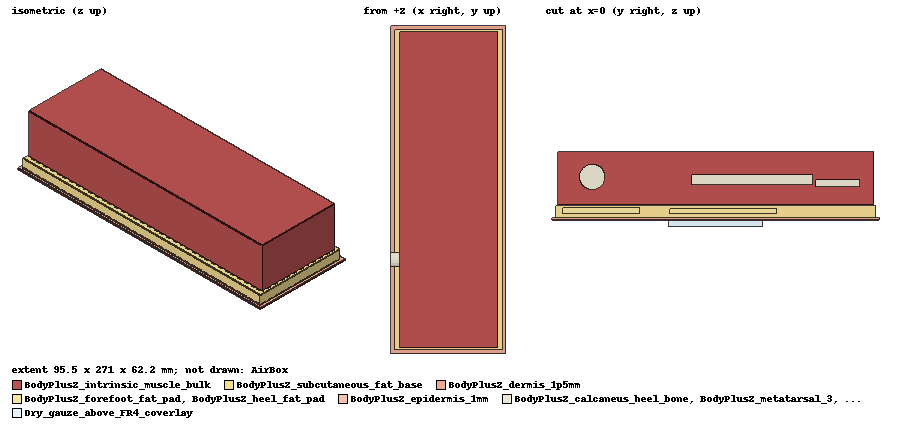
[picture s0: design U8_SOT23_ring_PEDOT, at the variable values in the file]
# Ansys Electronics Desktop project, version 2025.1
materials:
  vacuum: permittivity=1
  FR4_915MHz: permittivity=3.4 permeability=1 conductivity=0.00069229086
  PEDOTPSS: permittivity=4.5 permeability=1 conductivity=750
  copper: permeability=0.999991 conductivity=58000000
  Foot_Epidermis_915MHz: permittivity=38 permeability=1 conductivity=0.65
  Foot_Dermis_915MHz: permittivity=46.02 permeability=1 conductivity=0.851
  Foot_Skin_Wet_915MHz: permittivity=46.02 permeability=1 conductivity=0.851
  Foot_Fat_915MHz: permittivity=5.46 permeability=1 conductivity=0.051
  Foot_Muscle_915MHz: permittivity=55 permeability=1 conductivity=0.948
  Foot_Bone_Approx_915MHz: permittivity=12.5 permeability=1 conductivity=0.14
  Dry_Gauze_915MHz: permittivity=1.5 permeability=1 conductivity=0.001
  air: permittivity=1.0006 permeability=1.0000004
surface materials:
  Steel-oxidised-surface

design U8_SOT23_ring_PEDOT (HFSS, HFSS Modal Network, model units mm)
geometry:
  Cu_user_sketch_single_ring_vertical_dipole [copper] = cylinder(axis=Z, base_centre=(0mm, 0mm, -0.035mm), radius=10.37mm, height=0.035mm, segments=128)
  Cu_ring_inner_cut = cylinder(axis=Z, base_centre=(0mm, 0mm, -0.036mm), radius=7.57mm, height=0.037mm, segments=128)
  Cu_left_chip_gap_cut = box(corner=(-10.52mm, -0.7mm, -0.036mm), size=(3.1mm, 1.4mm, 0.037mm))
  Cu_user_sketch_single_ring_vertical_dipole.subtract(Cu_ring_inner_cut, Cu_left_chip_gap_cut)
  Cu_top_arm = polyline((0mm, 8.97mm, -0.0175mm) (0mm, 23.97mm, -0.0175mm), section rectangle width=1.6mm height=0.035mm)
  Cu_bottom_arm = polyline((0mm, -8.97mm, -0.0175mm) (0mm, -23.97mm, -0.0175mm), section rectangle width=1.6mm height=0.035mm)
  Cu_top_round_end = cylinder(axis=Z, base_centre=(0mm, 23.97mm, -0.035mm), radius=5mm, height=0.035mm, segments=128)
  Cu_bottom_round_end = cylinder(axis=Z, base_centre=(0mm, -23.97mm, -0.035mm), radius=5mm, height=0.035mm, segments=128)
  Cu_user_sketch_single_ring_vertical_dipole.unite(Cu_top_arm, Cu_bottom_arm, Cu_top_round_end, Cu_bottom_round_end)
  FR4_substrate_below_single_layer [FR4_915MHz] = box(corner=(-12.5mm, -32.5mm, -0.085mm), size=(25mm, 65mm, 0.05mm))
  PEDOT_PSS_center_volume [PEDOTPSS] = cylinder(axis=Z, base_centre=(0mm, 0mm, 0mm), radius=6.45mm, height=0.1mm, segments=96)
  ChipPortSheet = polyline(z=-0.0175mm, xy in mm: (-9.47, -0.7) (-8.47, -0.7) (-8.47, 0.7) (-9.47, 0.7) (-9.47, -0.7), closed, covered)
  FR4_coverlay_with_circular_PEDOT_window [FR4_915MHz] = box(corner=(-12.5mm, -32.5mm, 0mm), size=(25mm, 65mm, 0.05mm))
  FR4_PEDOT_window_cylinder_cut = cylinder(axis=Z, base_centre=(0mm, 0mm, -0.001mm), radius=6.55mm, height=0.052mm, segments=96)
  FR4_coverlay_with_circular_PEDOT_window.subtract(FR4_PEDOT_window_cylinder_cut)
  Dry_gauze_above_FR4_coverlay [Dry_Gauze_915MHz] = box(corner=(-18.5mm, -38.5mm, 0.12mm), size=(37mm, 77mm, 5mm))
  BodyPlusZ_epidermis_1mm [Foot_Epidermis_915MHz] = box(corner=(-46.5mm, -134.5mm, 5.12mm), size=(93mm, 269mm, 1mm))
  BodyPlusZ_dermis_1p5mm [Foot_Dermis_915MHz] = box(corner=(-47.5mm, -135.5mm, 6.12mm), size=(95mm, 271mm, 1.5mm))
  BodyPlusZ_subcutaneous_fat_base [Foot_Fat_915MHz] = box(corner=(-44.5mm, -132.5mm, 7.62mm), size=(89mm, 265mm, 9.5mm))
  BodyPlusZ_forefoot_fat_pad [Foot_Fat_915MHz] = box(corner=(-42mm, -38mm, 11.12mm), size=(84mm, 88mm, 4mm))
  BodyPlusZ_heel_fat_pad [Foot_Fat_915MHz] = box(corner=(-37.8mm, -126.5mm, 11.12mm), size=(75.6mm, 64mm, 4.5mm))
  BodyPlusZ_intrinsic_muscle_bulk [Foot_Muscle_915MHz] = box(corner=(-40.5mm, -130.5mm, 18.12mm), size=(81mm, 261mm, 44mm))
  BodyPlusZ_metatarsal_1 [Foot_Bone_Approx_915MHz] = cylinder(axis=Y, base_centre=(-28mm, -20mm, 39.12mm), radius=3.4mm, height=100mm, segments=24)
  BodyPlusZ_metatarsal_2 [Foot_Bone_Approx_915MHz] = cylinder(axis=Y, base_centre=(-14mm, -20mm, 39.12mm), radius=3.8mm, height=100mm, segments=24)
  BodyPlusZ_metatarsal_3 [Foot_Bone_Approx_915MHz] = cylinder(axis=Y, base_centre=(0mm, -20mm, 39.12mm), radius=4mm, height=100mm, segments=24)
  BodyPlusZ_metatarsal_4 [Foot_Bone_Approx_915MHz] = cylinder(axis=Y, base_centre=(14mm, -20mm, 39.12mm), radius=3.8mm, height=100mm, segments=24)
  BodyPlusZ_metatarsal_5 [Foot_Bone_Approx_915MHz] = cylinder(axis=Y, base_centre=(28mm, -20mm, 39.12mm), radius=3.2mm, height=100mm, segments=24)
  BodyPlusZ_proximal_phalanx_1 [Foot_Bone_Approx_915MHz] = cylinder(axis=Y, base_centre=(-30mm, 83mm, 36.12mm), radius=2.4mm, height=36mm, segments=20)
  BodyPlusZ_proximal_phalanx_2 [Foot_Bone_Approx_915MHz] = cylinder(axis=Y, base_centre=(-15mm, 83mm, 36.12mm), radius=2.5mm, height=36mm, segments=20)
  BodyPlusZ_proximal_phalanx_3 [Foot_Bone_Approx_915MHz] = cylinder(axis=Y, base_centre=(0mm, 83mm, 36.12mm), radius=2.7mm, height=36mm, segments=20)
  BodyPlusZ_proximal_phalanx_4 [Foot_Bone_Approx_915MHz] = cylinder(axis=Y, base_centre=(15mm, 83mm, 36.12mm), radius=2.5mm, height=36mm, segments=20)
  BodyPlusZ_proximal_phalanx_5 [Foot_Bone_Approx_915MHz] = cylinder(axis=Y, base_centre=(30mm, 83mm, 36.12mm), radius=2.2mm, height=36mm, segments=20)
  BodyPlusZ_calcaneus_heel_bone [Foot_Bone_Approx_915MHz] = cylinder(axis=X, base_centre=(-28mm, -102mm, 41.12mm), radius=10.5mm, height=56mm, segments=32)
  BodyPlusZ_tarsal_midfoot_bone [Foot_Bone_Approx_915MHz] = cylinder(axis=X, base_centre=(-48mm, -58mm, 36.12mm), radius=6mm, height=40mm, segments=28)
  BodyPlusZ_metatarsal_1_1 = BodyPlusZ_metatarsal_1.copy()
  BodyPlusZ_metatarsal_2_1 = BodyPlusZ_metatarsal_2.copy()
  BodyPlusZ_metatarsal_3_1 = BodyPlusZ_metatarsal_3.copy()
  BodyPlusZ_metatarsal_4_1 = BodyPlusZ_metatarsal_4.copy()
  BodyPlusZ_metatarsal_5_1 = BodyPlusZ_metatarsal_5.copy()
  BodyPlusZ_proximal_phalanx_1_1 = BodyPlusZ_proximal_phalanx_1.copy()
  BodyPlusZ_proximal_phalanx_2_1 = BodyPlusZ_proximal_phalanx_2.copy()
  BodyPlusZ_proximal_phalanx_3_1 = BodyPlusZ_proximal_phalanx_3.copy()
  BodyPlusZ_proximal_phalanx_4_1 = BodyPlusZ_proximal_phalanx_4.copy()
  BodyPlusZ_proximal_phalanx_5_1 = BodyPlusZ_proximal_phalanx_5.copy()
  BodyPlusZ_calcaneus_heel_bone_1 = BodyPlusZ_calcaneus_heel_bone.copy()
  BodyPlusZ_tarsal_midfoot_bone_1 = BodyPlusZ_tarsal_midfoot_bone.copy()
  BodyPlusZ_intrinsic_muscle_bulk.subtract(BodyPlusZ_metatarsal_1_1, BodyPlusZ_metatarsal_2_1, BodyPlusZ_metatarsal_3_1, BodyPlusZ_metatarsal_4_1, BodyPlusZ_metatarsal_5_1, BodyPlusZ_proximal_phalanx_1_1, BodyPlusZ_proximal_phalanx_2_1, BodyPlusZ_proximal_phalanx_3_1, BodyPlusZ_proximal_phalanx_4_1, BodyPlusZ_proximal_phalanx_5_1, BodyPlusZ_calcaneus_heel_bone_1, BodyPlusZ_tarsal_midfoot_bone_1)
  FR4_U8_chip_solder_window_cut = box(corner=(-10.97mm, -2.9mm, -0.001mm), size=(3.2mm, 5.8mm, 0.052mm))
  FR4_coverlay_with_circular_PEDOT_window.subtract(FR4_U8_chip_solder_window_cut)
  AirBox [air] = box(corner=(-180mm, -220mm, -90mm), size=(360mm, 440mm, 260mm))
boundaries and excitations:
  Rad1: Radiation Objects=AirBox
  ChipPort: Lumped Port Objects=ChipPortSheet LumpedPortType=Modal Modes{Mode1{IntLine{(-8.97, -0.7, -0.0175) -> (-8.97, 0.7, -0.0175)} CharImp=Zpi RenormImp=50ohm}} Impedance=50ohm
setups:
  Setup1: HfssDriven Frequency=0.915GHz MaxDeltaS=0.05 MaximumPasses=3 MinimumPasses=2 MinimumConvergedPasses=2 PercentRefinement=30 BasisOrder=1 PortAccuracy=2 DrivenSolverType="Direct Solver"
    sweep Sweep_860_960_FAST: 860MHz to 960MHz step 1MHz; Type=Fast
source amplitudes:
  ChipPort:1: 1W 0deg
